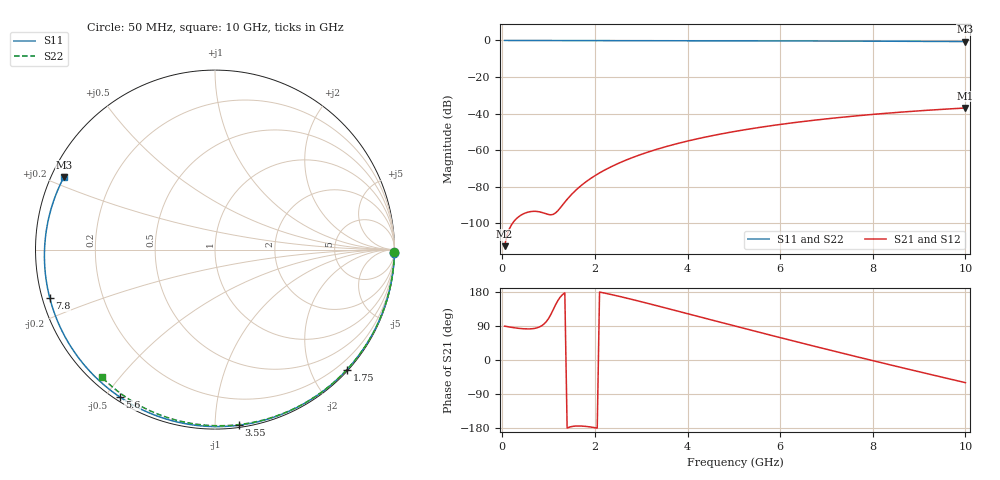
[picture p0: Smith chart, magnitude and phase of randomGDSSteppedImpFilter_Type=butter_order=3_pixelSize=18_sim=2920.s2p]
! freq	dB(S11)	phase(S11)	dB(S12)	phase(S12)
!  dB(S21)	phase(S21)	dB(S22)	phase(S22)
!S-par simulation data
#  GHz  S  DB  R 50
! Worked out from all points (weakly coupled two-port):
!   200 points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, 50 MHz to 10 GHz, reference 50 ohm
!   highest |S21| = -36.98 dB at 10 GHz (marker M1); lowest = -112.6 dB at 50 MHz (marker M2)
!   lowest |S11| = -0.6 dB at 10 GHz (marker M3), VSWR 29.12, Z = 1.81 + j11.4 ohm
!   |S11| at or under -10 dB: nowhere
!   |S22| runs from -0.4 to 0.0 dB; largest |S21 - S12| = 0
!   S11 on the Smith chart (normalised r, x): 50 MHz: 0, -92; 1.75 GHz: 0.02, -2.59; 3.55 GHz: 0.01, -1.15; 5.6 GHz: 0.01, -0.54; 7.8 GHz: 0.02, -0.14; 10 GHz: 0.04, +0.23
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0.05  -0.00 -1.2  -112.62 89.3  -112.62 89.3  -0.00 -0.8
0.4  -0.01 -9.8  -95.68 83.0  -95.68 83.0  -0.01 -6.1
0.8  -0.03 -19.6  -93.82 87.1  -93.82 87.1  -0.02 -12.1
1.2  -0.04 -29.2  -93.20 156.8  -93.20 156.8  -0.02 -18.1
1.65  -0.05 -39.9  -80.56 -174.1  -80.56 -174.1  -0.03 -24.8
1.7  -0.05 -41.1  -79.49 -174.2  -79.49 -174.2  -0.03 -25.5
1.75  -0.05 -42.2  -78.47 -174.6  -78.47 -174.6  -0.03 -26.2
2.05  -0.06 -49.2  -73.27 -179.7  -73.27 -179.7  -0.04 -30.7
2.45  -0.07 -58.3  -67.94 170.1  -67.94 170.1  -0.05 -36.5
2.9  -0.09 -68.3  -63.26 156.8  -63.26 156.8  -0.06 -42.9
3.4  -0.10 -79.0  -59.10 141.3  -59.10 141.3  -0.07 -50.0
3.55  -0.11 -82.2  -58.01 136.6  -58.01 136.6  -0.07 -52.1
4.3  -0.14 -97.6  -53.35 112.7  -53.35 112.7  -0.09 -62.4
5.05  -0.17 -112.4  -49.68 88.9  -49.68 88.9  -0.11 -72.3
5.6  -0.20 -122.9  -47.43 71.6  -47.43 71.6  -0.13 -79.4
6.15  -0.23 -133.2  -45.47 54.4  -45.47 54.4  -0.15 -86.4
6.7  -0.27 -143.4  -43.76 37.5  -43.76 37.5  -0.18 -93.2
7.25  -0.31 -153.4  -42.26 20.8  -42.26 20.8  -0.21 -99.9
7.8  -0.36 -163.5  -40.92 4.2  -40.92 4.2  -0.25 -106.4
8.35  -0.41 -173.7  -39.74 -12.1  -39.74 -12.1  -0.29 -112.8
9.2  -0.50 170.1  -38.18 -36.8  -38.18 -36.8  -0.36 -122.6
10  -0.60 154.3  -36.98 -59.8  -36.98 -59.8  -0.45 -131.7
